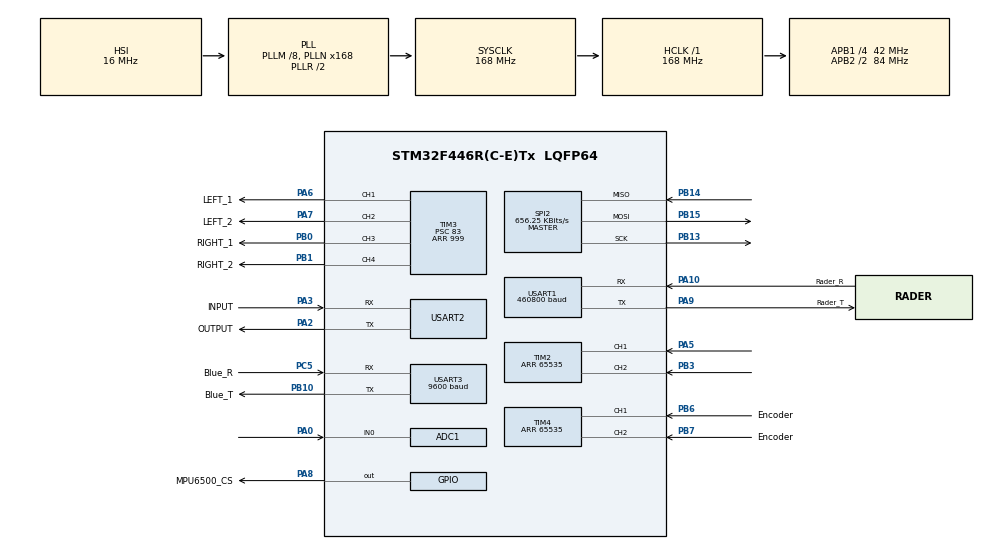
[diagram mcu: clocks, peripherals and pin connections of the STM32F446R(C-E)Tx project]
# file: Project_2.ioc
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ADC1.Channel-0\#ChannelRegularConversion=ADC_CHANNEL_0
ADC1.NbrOfConversionFlag=1
ADC1.Rank-0\#ChannelRegularConversion=1
ADC1.SamplingTime-0\#ChannelRegularConversion=ADC_SAMPLETIME_3CYCLES
ADC1.master=1
Dma.Request0=USART1_RX
Dma.USART1_RX.0.Direction=DMA_PERIPH_TO_MEMORY
Dma.USART1_RX.0.FIFOMode=DMA_FIFOMODE_DISABLE
Dma.USART1_RX.0.Instance=DMA2_Stream2
Dma.USART1_RX.0.MemDataAlignment=DMA_MDATAALIGN_BYTE
Dma.USART1_RX.0.MemInc=DMA_MINC_ENABLE
Dma.USART1_RX.0.Mode=DMA_CIRCULAR
Dma.USART1_RX.0.PeriphDataAlignment=DMA_PDATAALIGN_BYTE
Dma.USART1_RX.0.PeriphInc=DMA_PINC_DISABLE
Dma.USART1_RX.0.Priority=DMA_PRIORITY_HIGH
Mcu.Family=STM32F4
Mcu.Name=STM32F446R(C-E)Tx
Mcu.Package=LQFP64
NVIC.DMA2_Stream2_IRQn=true\:0\:0\:false\:false\:true\:false\:true\:true
NVIC.PriorityGroup=NVIC_PRIORITYGROUP_4
NVIC.USART1_IRQn=true\:0\:0\:false\:false\:true\:true\:true\:true
NVIC.USART2_IRQn=true\:0\:0\:false\:false\:true\:true\:true\:true
NVIC.USART3_IRQn=true\:0\:0\:false\:false\:true\:true\:true\:true
PA0-WKUP.Signal=ADCx_IN0
PA10.GPIO_Label=Rader_R
PA10.GPIO_PuPd=GPIO_PULLUP
PA10.GPIO_Speed=GPIO_SPEED_FREQ_HIGH
PA10.Mode=Asynchronous
PA10.Signal=USART1_RX
PA2.GPIO_Label=OUTPUT
PA2.Mode=Asynchronous
PA2.Signal=USART2_TX
PA3.GPIO_Label=INPUT
PA3.GPIO_PuPd=GPIO_PULLUP
PA3.Mode=Asynchronous
PA3.Signal=USART2_RX
PA5.Signal=S_TIM2_CH1_ETR
PA6.GPIO_Label=LEFT_1
PA6.Signal=S_TIM3_CH1
PA7.GPIO_Label=LEFT_2
PA7.Signal=S_TIM3_CH2
PA8.GPIO_Label=MPU6500_CS
PA8.Signal=GPIO_Output
PA9.GPIO_Label=Rader_T
PA9.GPIO_Speed=GPIO_SPEED_FREQ_HIGH
PA9.Mode=Asynchronous
PA9.Signal=USART1_TX
PB0.GPIO_Label=RIGHT_1
PB0.Signal=S_TIM3_CH3
PB1.GPIO_Label=RIGHT_2
PB1.Signal=S_TIM3_CH4
PB10.GPIO_Label=Blue_T
PB10.Mode=Asynchronous
PB10.Signal=USART3_TX
PB13.Mode=Full_Duplex_Master
PB13.Signal=SPI2_SCK
PB14.Mode=Full_Duplex_Master
PB14.Signal=SPI2_MISO
PB15.Mode=Full_Duplex_Master
PB15.Signal=SPI2_MOSI
PB3.Signal=S_TIM2_CH2
PB6.GPIO_Label=Encoder
PB6.Signal=S_TIM4_CH1
PB7.GPIO_Label=Encoder
PB7.Signal=S_TIM4_CH2
PC14-OSC32_IN.Mode=LSE-External-Oscillator
PC14-OSC32_IN.Signal=RCC_OSC32_IN
PC15-OSC32_OUT.Mode=LSE-External-Oscillator
PC15-OSC32_OUT.Signal=RCC_OSC32_OUT
PC5.GPIO_Label=Blue_R
PC5.GPIO_PuPd=GPIO_PULLUP
PC5.Mode=Asynchronous
PC5.Signal=USART3_RX
PH0-OSC_IN.Mode=HSE-External-Oscillator
PH0-OSC_IN.Signal=RCC_OSC_IN
PH1-OSC_OUT.Mode=HSE-External-Oscillator
PH1-OSC_OUT.Signal=RCC_OSC_OUT
ProjectManager.HeapSize=0x200
ProjectManager.StackSize=0x400
ProjectManager.TargetToolchain=MDK-ARM V5
RCC.AHBFreq_Value=168000000
RCC.APB1CLKDivider=RCC_HCLK_DIV4
RCC.APB1Freq_Value=42000000
RCC.APB1TimFreq_Value=84000000
RCC.APB2CLKDivider=RCC_HCLK_DIV2
RCC.APB2Freq_Value=84000000
RCC.APB2TimFreq_Value=168000000
RCC.CortexFreq_Value=168000000
RCC.HCLKFreq_Value=168000000
RCC.HSE_VALUE=25000000
RCC.PLLM=8
RCC.PLLN=168
RCC.SYSCLKFreq_VALUE=168000000
RCC.SYSCLKSource=RCC_SYSCLKSOURCE_PLLRCLK
RCC.USBFreq_Value=168000000
RCC.VCOOutputFreq_Value=336000000
SH.ADCx_IN0.0=ADC1_IN0,IN0
SH.S_TIM2_CH1_ETR.0=TIM2_CH1,Encoder_Interface
SH.S_TIM2_CH2.0=TIM2_CH2,Encoder_Interface
SH.S_TIM3_CH1.0=TIM3_CH1,PWM Generation1 CH1
SH.S_TIM3_CH2.0=TIM3_CH2,PWM Generation2 CH2
SH.S_TIM3_CH3.0=TIM3_CH3,PWM Generation3 CH3
SH.S_TIM3_CH4.0=TIM3_CH4,PWM Generation4 CH4
SH.S_TIM4_CH1.0=TIM4_CH1,Encoder_Interface
SH.S_TIM4_CH2.0=TIM4_CH2,Encoder_Interface
SPI2.BaudRatePrescaler=SPI_BAUDRATEPRESCALER_64
SPI2.CalculateBaudRate=656.25 KBits/s
SPI2.Direction=SPI_DIRECTION_2LINES
SPI2.Mode=SPI_MODE_MASTER
SPI2.VirtualType=VM_MASTER
TIM2.EncoderMode=TIM_ENCODERMODE_TI12
TIM2.Period=65535
TIM3.Channel-PWM\ Generation1\ CH1=TIM_CHANNEL_1
TIM3.Channel-PWM\ Generation2\ CH2=TIM_CHANNEL_2
TIM3.Channel-PWM\ Generation3\ CH3=TIM_CHANNEL_3
TIM3.Channel-PWM\ Generation4\ CH4=TIM_CHANNEL_4
TIM3.Period=999
TIM3.Prescaler=83
TIM4.EncoderMode=TIM_ENCODERMODE_TI12
TIM4.Period=65535
USART1.BaudRate=460800
USART1.VirtualMode=VM_ASYNC
USART2.VirtualMode=VM_ASYNC
USART3.BaudRate=9600
USART3.VirtualMode=VM_ASYNC
VP_TIM3_VS_ClockSourceINT.Mode=Internal
board=custom

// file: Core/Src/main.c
/* USER CODE BEGIN Header */
/**
  ******************************************************************************
  * @file           : main.c
  * @brief          : Main program body
  ******************************************************************************
  * @attention
  *
  * Copyright (c) 2025 STMicroelectronics.
  * All rights reserved.
  *
  * This software is licensed under terms that can be found in the LICENSE file
  * in the root directory of this software component.
  * If no LICENSE file comes with this software, it is provided AS-IS.
  *
  ******************************************************************************
  */
/* USER CODE END Header */
#include "main.h"
#include "adc.h"
#include "dma.h"
#include "spi.h"
#include "tim.h"
#include "usart.h"
#include "gpio.h"
#include "math.h"

/* USER CODE BEGIN Includes */
#include "rader.h"
#include "blue.h"
#include "reprint.h"
#include "interrupt.h"
#include <stdlib.h>
#include <string.h>
#include "run.h"
#include "mpu.h"
/* USER CODE END Includes */

/* USER CODE BEGIN PV */
float gz_bias = 0.0f;
/* USER CODE END PV */

void SystemClock_Config(void);

/* USER CODE BEGIN 0 */
typedef enum {
	DATA_TYPE_LIDAR = 1,
	DATA_TYPE_IMU   = 2,
	DATA_TYPE_WHEEL = 3,
	ODOM=4
} DataType;

#pragma pack(push,1)
typedef struct {
	uint16_t header; //header
	uint8_t type; //1=LIDAR, 2 =IMU 3-WHEEL
	float x; //lidar angle / leftspeed / x acceleration
	float y; //lidar distance/rightspeed/y acceleration
	float z; //z Angular velocity
}SensorData;
#pragma pack(pop)

#define KP  0.6f
#define KI  0.0f
#define KD  0.6f

#define MAX_TURN_SPEED  60.0f   // 最大电机速度（PWM值）
#define MIN_TURN_SPEED  32.0f
#define ANGLE_TOLERANCE 2.0f
#define INTEGRAL_LIMIT  200.0f
static float last_diff = 0.0f;
static float integral = 0.0f;

void Car_Turning_Control(float yaw, float target_yaw)
{
	float diff = yaw - target_yaw;

	// 将角度误差限制到 [-180, 180]
	if (diff > 180.0f) diff -= 360.0f;
	if (diff < -180.0f) diff += 360.0f;

	// 计算 PID
	float derivative = diff-last_diff;
	integral += diff;
	if (integral > INTEGRAL_LIMIT) integral = INTEGRAL_LIMIT;
	if (integral < -INTEGRAL_LIMIT) integral = -INTEGRAL_LIMIT;
	last_diff = diff;

	float output = KP * diff + KI * integral + KD * derivative;

	// 限幅
	if (output > MAX_TURN_SPEED) output = MAX_TURN_SPEED;
	if (output < -MAX_TURN_SPEED) output = -MAX_TURN_SPEED;

	// 避免死区
	if (fabs(output) < MIN_TURN_SPEED && fabs(diff) > ANGLE_TOLERANCE)
		output = (output > 0 ? MIN_TURN_SPEED : -MIN_TURN_SPEED);

	Set_LeftMotor_Speed(output); // 左轮正转表示右转
	Set_RightMotor_Speed(-output*0.95); // 右轮反转表示右转

	// 角度到达 -> 停止
	if (fabs(diff) < ANGLE_TOLERANCE)
	{
		Set_LeftMotor_Speed(0);
		Set_RightMotor_Speed(0);

		integral = 0;
		last_diff = 0;

		car_state = STATE_IDLE;
	}
}
/* USER CODE END 0 */

int main(void)
{

  /* MCU Configuration--------------------------------------------------------*/

  /* Reset of all peripherals, Initializes the Flash interface and the Systick. */
  HAL_Init();

  /* Configure the system clock */
  SystemClock_Config();

  /* Initialize all configured peripherals */
  MX_GPIO_Init();
  MX_DMA_Init();
  MX_USART1_UART_Init();
  MX_USART2_UART_Init();
  MX_USART3_UART_Init();
  MX_TIM3_Init();
  MX_TIM4_Init();
  MX_TIM2_Init();
  MX_ADC1_Init();
  MX_SPI2_Init();
  /* USER CODE BEGIN 2 */
	int16_t ax, ay, az, gx, gy, gz;
	float gx_rad, gy_rad, gz_rad;;
	start_bluetooth_receive();
	RPLIDAR_UART_DMA_Start();
	Rader_Start();
	Motor_PWM_Start();
	HAL_TIM_Encoder_Start(&htim2, TIM_CHANNEL_ALL);
	HAL_TIM_Encoder_Start(&htim4, TIM_CHANNEL_ALL);
	MPU6500_Init();

	int i = 0;
	for (i = 0; i < 200; i++) {
		MPU6500_ReadGyro(&gx, &gy, &gz);
		gz_bias += gz;
		HAL_Delay(5);
	}
	gz_bias /= 200.0f;
	int left = current_speed;
	int right = current_speed;
	//	HAL_Delay(2000);
	printf("test\n");
	run_state = STOP;
	is_buzy = 0;

  /* USER CODE END 2 */

  /* Infinite loop */
  /* USER CODE BEGIN WHILE */
	while (1)
	{
		static uint32_t last_tick = 0;
		uint32_t now = HAL_GetTick();
		float dt = (now - last_tick) / 1000.0f;
		last_tick = now;
		Update_Left_Encoder_Speed(dt);
		Update_Right_Encoder_Speed(dt);

		MPU6500_ReadGyro(&gx, &gy, &gz);
		gz_rad = (gz - gz_bias) / 131.0f/180*3.14;

		UpdateYaw(gz_rad/3.14*180 ,dt);
//		if (car_state == STATE_TURNING)
//		{
//			float diff = yaw - target_yaw;
//			if (diff > 180.0f) diff -= 360.0f;
//			if (diff < -180.0f) diff += 360.0f;
//			if ((turn_dir == 1&&diff>=-0.5f) || (turn_dir == -1&&diff<=0.5f))
//			{
//				Set_LeftMotor_Speed(0);
//				Set_RightMotor_Speed(0);
//				car_state = STATE_IDLE;
//			}
//		}

		if (car_state == STATE_TURNING)
		{
			Car_Turning_Control(yaw, target_yaw);
		}

//		if (!is_buzy)
//		{
//			Update_Left_Encoder_Speed(dt);
//			Update_Right_Encoder_Speed(dt);
//			SensorData data;
//			data.header = 0xAA55;
//			data.type = DATA_TYPE_WHEEL;
//			data.x = left_speed;
//			data.y = right_speed;
//			data.z = 0;
//			HAL_UART_Transmit(&huart3, (uint8_t*)&data, sizeof(data), 100);
//		}
//		if (!is_buzy)
//		{
//			MPU6500_ReadAccel(&ax, &ay, &az);
//			MPU6500_ReadGyro(&gx, &gy, &gz);
//			gx_rad = gx / 131.0f;
//			gy_rad = gy / 131.0f;
//			gz_rad = (gz - gz_bias) / 131.0f;
//			SensorData data_2;
//			data_2.header = 0xAA55;
//			data_2.type = DATA_TYPE_IMU;
//			data_2.x = ax;
//			data_2.y = ay;
//			data_2.z = gz_rad;
//			HAL_UART_Transmit(&huart3, (uint8_t*)&data_2, sizeof(data_2), 100);
//		}

		if (run_state == RUN_F)
		{
			if (fabs(1.17*left_speed) > fabs(right_speed))
			{
				left -= 1;
				right += 1;
				Set_LeftMotor_Speed(left);
				Set_RightMotor_Speed(right);
			}
			if (fabs(1.17*left_speed) < fabs(right_speed))
			{
				left += 1;
				right -= 1;
				Set_LeftMotor_Speed(left);
				Set_RightMotor_Speed(right);
			}
		}
		if (run_state == RUN_B)
		{

			if (fabs(left_speed) > fabs(right_speed))
			{
				left -= 1;
				right += 1;
				Set_LeftMotor_Speed(-left);
				Set_RightMotor_Speed(-right);
			}
			if (fabs(left_speed) < fabs(right_speed))
			{
				left += 1;
				right -= 1;
				Set_LeftMotor_Speed(-left);
				Set_RightMotor_Speed(-right);
			}
		}
		if (run_state == STOP)
		{
			left = right = current_speed;
		}
		testxy(left_speed, right_speed, dt,gz_rad);
		if (!is_buzy)
		{
			SensorData data_4;
			data_4.header = 0xAA55;
			data_4.type = ODOM;
			data_4.x = est.x;
			data_4.y = est.y;
			data_4.z = est.th;
			HAL_UART_Transmit(&huart3, (uint8_t*)&data_4, sizeof(data_4), 100);
		}

		static SensorData data_3[100];
		if (ready&&!is_buzy)
		{
			ready = 0;
			is_buzy = 1;
			int i;
			for (i = 0; i < 25; i++) {
				    data_3[i].header = 0xAA55;
					data_3[i].type = DATA_TYPE_LIDAR;
					data_3[i].x = lidar_points[i*5].angle;
					data_3[i].y = lidar_points[i*5].distance;
					data_3[i].z = 0;
			}
			HAL_UART_Transmit_IT(&huart3, (uint8_t*)&data_3, sizeof(data_3));

		}

		HAL_Delay(10);

		/* USER CODE END WHILE */

	}
}

void SystemClock_Config(void)
{
  RCC_OscInitTypeDef RCC_OscInitStruct = {0};
  RCC_ClkInitTypeDef RCC_ClkInitStruct = {0};

  /** Configure the main internal regulator output voltage
  */
  __HAL_RCC_PWR_CLK_ENABLE();
  __HAL_PWR_VOLTAGESCALING_CONFIG(PWR_REGULATOR_VOLTAGE_SCALE1);

  /** Initializes the RCC Oscillators according to the specified parameters
  * in the RCC_OscInitTypeDef structure.
  */
  RCC_OscInitStruct.OscillatorType = RCC_OSCILLATORTYPE_HSI;
  RCC_OscInitStruct.HSIState = RCC_HSI_ON;
  RCC_OscInitStruct.HSICalibrationValue = RCC_HSICALIBRATION_DEFAULT;
  RCC_OscInitStruct.PLL.PLLState = RCC_PLL_ON;
  RCC_OscInitStruct.PLL.PLLSource = RCC_PLLSOURCE_HSI;
  RCC_OscInitStruct.PLL.PLLM = 8;
  RCC_OscInitStruct.PLL.PLLN = 168;
  RCC_OscInitStruct.PLL.PLLP = RCC_PLLP_DIV2;
  RCC_OscInitStruct.PLL.PLLQ = 2;
  RCC_OscInitStruct.PLL.PLLR = 2;
  if (HAL_RCC_OscConfig(&RCC_OscInitStruct) != HAL_OK)
  {
    Error_Handler();
  }

  /** Initializes the CPU, AHB and APB buses clocks
  */
  RCC_ClkInitStruct.ClockType = RCC_CLOCKTYPE_HCLK|RCC_CLOCKTYPE_SYSCLK
                              |RCC_CLOCKTYPE_PCLK1|RCC_CLOCKTYPE_PCLK2;
  RCC_ClkInitStruct.SYSCLKSource = RCC_SYSCLKSOURCE_PLLRCLK;
  RCC_ClkInitStruct.AHBCLKDivider = RCC_SYSCLK_DIV1;
  RCC_ClkInitStruct.APB1CLKDivider = RCC_HCLK_DIV4;
  RCC_ClkInitStruct.APB2CLKDivider = RCC_HCLK_DIV2;

  if (HAL_RCC_ClockConfig(&RCC_ClkInitStruct, FLASH_LATENCY_5) != HAL_OK)
  {
    Error_Handler();
  }
}

void Error_Handler(void)
{
  __disable_irq();
  while (1)
  {
  }
}
